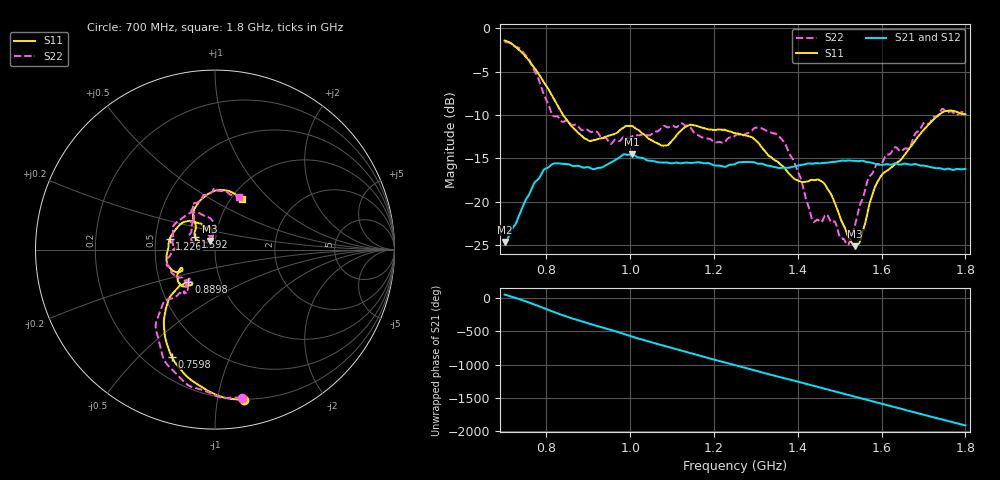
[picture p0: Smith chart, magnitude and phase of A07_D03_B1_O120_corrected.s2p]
! Created with skrf 1.9.0 (http://scikit-rf.org).
# Hz S RI R 50.0
!freq ReS11 ImS11 ReS21 ImS21 ReS12 ImS12 ReS22 ImS22
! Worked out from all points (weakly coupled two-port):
!   1601 points, 700 MHz to 1.8 GHz, reference 50 ohm
!   highest |S21| = -14.50 dB at 1.003 GHz (marker M1); lowest = -24.6 dB at 700.7 MHz (marker M2)
!   lowest |S11| = -25.1 dB at 1.537 GHz (marker M3), VSWR 1.12, Z = 47.2 + j4.61 ohm
!   |S11| at or under -10 dB: 839.8 MHz to 1.736 GHz (895.9 MHz wide, 69.6 % of centre)
!   |S22| runs from -25.0 to -1.5 dB; largest |S21 - S12| = 0.0035
!   S11 on the Smith chart (normalised r, x): 700 MHz: 0.19, -1.19; 759.8 MHz: 0.31, -0.63; 889.8 MHz: 0.70, -0.27; 1.226 GHz: 0.59, +0.08; 1.592 GHz: 0.79, +0.12; 1.8 GHz: 1.13, +0.70
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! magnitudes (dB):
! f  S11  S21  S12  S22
! 700 MHz  -1.4  -24.6  -24.4  -1.5
! 700.7 MHz  -1.4  -24.6  -24.3  -1.5
! 759.8 MHz  -3.8  -19.0  -18.9  -3.7
! 814.8 MHz  -7.9  -15.6  -15.7  -10.0
! 883.6 MHz  -12.4  -16.0  -15.9  -11.7
! 889.8 MHz  -12.7  -16.1  -16.0  -11.7
! 1.003 GHz  -11.3  -14.5  -14.6  -12.5
! 1.067 GHz  -13.3  -15.4  -15.4  -11.8
! 1.142 GHz  -11.1  -15.5  -15.5  -11.3
! 1.226 GHz  -11.7  -16.0  -15.9  -13.1
! 1.25 GHz  -12.1  -15.7  -15.6  -12.4
! 1.356 GHz  -15.6  -16.1  -16.0  -12.5
! 1.402 GHz  -17.6  -15.8  -15.8  -16.7
! 1.434 GHz  -17.5  -15.6  -15.6  -22.0
! 1.467 GHz  -18.2  -15.5  -15.5  -21.5
! 1.518 GHz  -23.8  -15.3  -15.3  -25.0
! 1.537 GHz  -25.1  -15.3  -15.3  -22.7
! 1.568 GHz  -21.0  -15.4  -15.4  -17.4
! 1.592 GHz  -17.5  -15.7  -15.7  -15.7
! 1.617 GHz  -16.3  -15.7  -15.7  -14.6
! 1.74 GHz  -9.8  -16.1  -16.2  -9.6
! 1.8 GHz  -9.9  -16.2  -16.2  -9.8
